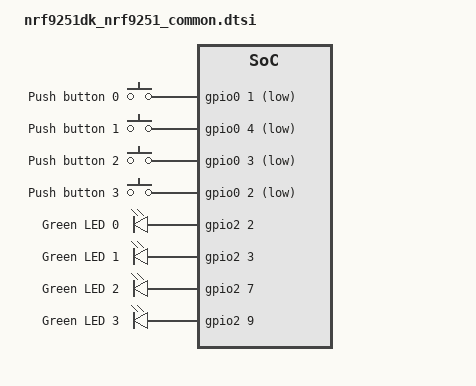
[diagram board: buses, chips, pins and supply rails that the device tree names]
/*
 * Copyright (c) 2026 Nordic Semiconductor ASA
 *
 * SPDX-License-Identifier: LicenseRef-Nordic-5-Clause
 */

/ {
	buttons {
		compatible = "gpio-keys";

		button0: button_0 {
			gpios = <&gpio0 1 (GPIO_PULL_UP | GPIO_ACTIVE_LOW)>;
			label = "Push button 0";
			zephyr,code = <INPUT_KEY_0>;
		};

		button1: button_1 {
			gpios = <&gpio0 4 (GPIO_PULL_UP | GPIO_ACTIVE_LOW)>;
			label = "Push button 1";
			zephyr,code = <INPUT_KEY_1>;
		};

		button2: button_2 {
			gpios = <&gpio0 3 (GPIO_PULL_UP | GPIO_ACTIVE_LOW)>;
			label = "Push button 2";
			zephyr,code = <INPUT_KEY_2>;
		};

		button3: button_3 {
			gpios = <&gpio0 2 (GPIO_PULL_UP | GPIO_ACTIVE_LOW)>;
			label = "Push button 3";
			zephyr,code = <INPUT_KEY_3>;
		};
	};

	leds {
		compatible = "gpio-leds";

		led0: led_0 {
			gpios = <&gpio2 2 GPIO_ACTIVE_HIGH>;
			label = "Green LED 0";
		};

		led1: led_1 {
			gpios = <&gpio2 3 GPIO_ACTIVE_HIGH>;
			label = "Green LED 1";
		};

		led2: led_2 {
			gpios = <&gpio2 7 GPIO_ACTIVE_HIGH>;
			label = "Green LED 2";
		};

		led3: led_3 {
			gpios = <&gpio2 9 GPIO_ACTIVE_HIGH>;
			label = "Green LED 3";
		};
	};
};
